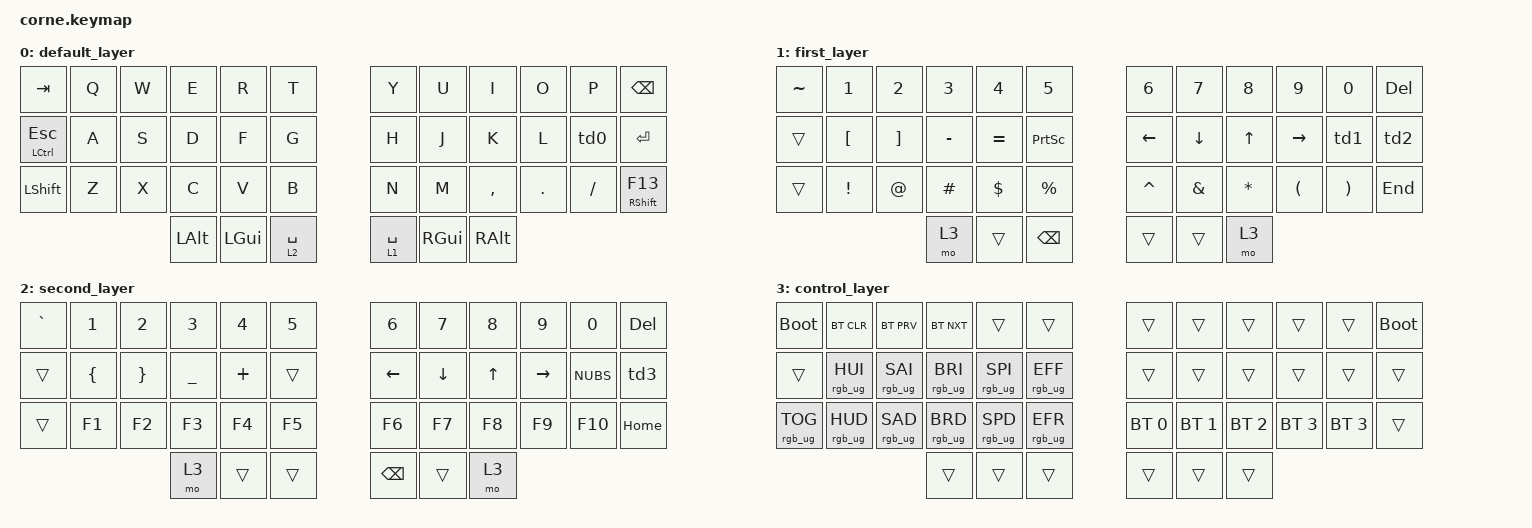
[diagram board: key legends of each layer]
/*
 * Copyright (c) 2020 The ZMK Contributors
 *
 * SPDX-License-Identifier: MIT
 */

#include <behaviors.dtsi>
#include <dt-bindings/zmk/keys.h>
#include <dt-bindings/zmk/bt.h>
#include <dt-bindings/zmk/rgb.h>
#include <dt-bindings/zmk/ext_power.h>
#include <dt-bindings/led/led.h>

&pinctrl {
    spi3_default: spi3_default {
        group1 { psels = <NRF_PSEL(SPIM_MOSI, 0, 6)>; };      // <-- data pin
    };
    spi3_sleep: spi3_sleep {
        group1 { psels = <NRF_PSEL(SPIM_MOSI, 0, 6)>; low-power-enable; };
    };
};

&spi3 {
    status = "okay";
    compatible = "nordic,nrf-spim";
    pinctrl-0 = <&spi3_default>;
    pinctrl-1 = <&spi3_sleep>;
    pinctrl-names = "default", "sleep";

    led_strip: ws2812@0 {
        compatible = "worldsemi,ws2812-spi";
        reg = <0>;
        spi-max-frequency = <4000000>;
        chain-length = <21>;
        spi-one-frame = <0x70>;
        spi-zero-frame = <0x40>;
        color-mapping = <LED_COLOR_ID_GREEN LED_COLOR_ID_RED LED_COLOR_ID_BLUE>;
    };
};

/ {
    chosen { zmk,underglow = &led_strip; };
};

// nice_view connected with control pin 8 together with LEDs
&nice_view_spi {
    cs-gpios = <&pro_micro 8 GPIO_ACTIVE_HIGH>;
};

/ {

    behaviors {
    td0: tap_dance_0 {
            compatible = "zmk,behavior-tap-dance";
            #binding-cells = <0>;
            tapping-term-ms = <200>;
            bindings = <&kp SEMI>, <&kp COLON>;
        };
    td1: tap_dance_1 {
            compatible = "zmk,behavior-tap-dance";
            #binding-cells = <0>;
            tapping-term-ms = <200>;
            bindings = <&kp SQT>, <&kp DQT>;
        };
    td2: tap_dance_2 {
            compatible = "zmk,behavior-tap-dance";
            #binding-cells = <0>;
            tapping-term-ms = <200>;
            bindings = <&kp BACKSLASH>, <&kp PIPE>;
        };
    td3: tap_dance_3 {
            compatible = "zmk,behavior-tap-dance";
            #binding-cells = <0>;
            tapping-term-ms = <200>;
            bindings = <&kp GRAVE>, <&kp TILDE>;
        };
    };

    keymap {
        compatible = "zmk,keymap";

        default_layer {
            bindings = <
//    ┌─────────────┬───┬───┬──────┬──────┬──────────┐   ┌──────────┬──────┬──────┬───┬──────┬─────────────┐
//    │     tab     │ Q │ W │  E   │  R   │    T     │   │    Y     │  U   │  I   │ O │  P   │    bspc     │
//    ├─────────────┼───┼───┼──────┼──────┼──────────┤   ├──────────┼──────┼──────┼───┼──────┼─────────────┤
//    │ mt lctl esc │ A │ S │  D   │  F   │    G     │   │    H     │  J   │  K   │ L │ &td0 │     ent     │
//    ├─────────────┼───┼───┼──────┼──────┼──────────┤   ├──────────┼──────┼──────┼───┼──────┼─────────────┤
//    │    lsft     │ Z │ X │  C   │  V   │    B     │   │    N     │  M   │  ,   │ . │  /   │ mt rsft f13 │
//    └─────────────┴───┴───┼──────┼──────┼──────────┤   ├──────────┼──────┼──────┼───┴──────┴─────────────┘
//                          │ lalt │ lgui │ lt 2 spc │   │ lt 1 spc │ rgui │ ralt │
//                          └──────┴──────┴──────────┘   └──────────┴──────┴──────┘
  &kp TAB         &kp Q   &kp W   &kp E      &kp R      &kp T             &kp Y         &kp U      &kp I       &kp O     &kp P      &kp BSPC
  &mt LCTRL ESC   &kp A   &kp S   &kp D      &kp F      &kp G             &kp H         &kp J      &kp K       &kp L     &td0       &kp RET
  &kp LSHFT       &kp Z   &kp X   &kp C      &kp V      &kp B             &kp N         &kp M      &kp COMMA   &kp DOT   &kp FSLH   &mt RSHFT F13
                                  &kp LALT   &kp LGUI   &lt 2 SPACE       &lt 1 SPACE   &kp RGUI   &kp RALT
                >;
        };

        first_layer {
            bindings = <
//    ┌─────┬───┬───┬──────┬─────┬──────┐   ┌──────┬──────┬──────┬──────┬──────┬──────┐
//    │  ~  │ 1 │ 2 │  3   │  4  │  5   │   │  6   │  7   │  8   │  9   │  0   │ del  │
//    ├─────┼───┼───┼──────┼─────┼──────┤   ├──────┼──────┼──────┼──────┼──────┼──────┤
//    │     │ [ │ ] │  -   │  =  │ pscr │   │ left │ down │  up  │ rght │ &td1 │ &td2 │
//    ├─────┼───┼───┼──────┼─────┼──────┤   ├──────┼──────┼──────┼──────┼──────┼──────┤
//    │     │ ! │ @ │  #   │  $  │  %   │   │  ^   │  &   │  *   │  (   │  )   │ end  │
//    └─────┴───┴───┼──────┼─────┼──────┤   ├──────┼──────┼──────┼──────┴──────┴──────┘
//                  │ mo 3 │     │ bspc │   │      │      │ mo 3 │
//                  └──────┴─────┴──────┘   └──────┴──────┴──────┘
  &kp TILDE   &kp N1     &kp N2     &kp N3      &kp N4      &kp N5          &kp N6      &kp N7     &kp N8      &kp N9      &kp N0     &kp DEL
  &trans      &kp LBKT   &kp RBKT   &kp MINUS   &kp EQUAL   &kp PSCRN       &kp LEFT    &kp DOWN   &kp UP      &kp RIGHT   &td1       &td2
  &trans      &kp EXCL   &kp AT     &kp HASH    &kp DLLR    &kp PRCNT       &kp CARET   &kp AMPS   &kp ASTRK   &kp LPAR    &kp RPAR   &kp END
                                    &mo 3       &trans      &kp BSPC        &trans      &trans     &mo 3
                >;
        };

        second_layer {
            bindings = <
//    ┌─────┬────┬────┬──────┬─────┬─────┐   ┌──────┬──────┬──────┬──────┬──────┬──────┐
//    │  `  │ 1  │ 2  │  3   │  4  │  5  │   │  6   │  7   │  8   │  9   │  0   │ del  │
//    ├─────┼────┼────┼──────┼─────┼─────┤   ├──────┼──────┼──────┼──────┼──────┼──────┤
//    │     │ {  │ }  │  _   │  +  │     │   │ left │ down │  up  │ rght │ iso\ │ &td3 │
//    ├─────┼────┼────┼──────┼─────┼─────┤   ├──────┼──────┼──────┼──────┼──────┼──────┤
//    │     │ f1 │ f2 │  f3  │ f4  │ f5  │   │  f6  │  f7  │  f8  │  f9  │ f10  │ home │
//    └─────┴────┴────┼──────┼─────┼─────┤   ├──────┼──────┼──────┼──────┴──────┴──────┘
//                    │ mo 3 │     │     │   │ bspc │      │ mo 3 │
//                    └──────┴─────┴─────┘   └──────┴──────┴──────┘
  &kp GRAVE   &kp N1     &kp N2     &kp N3      &kp N4     &kp N5       &kp N6     &kp N7     &kp N8   &kp N9      &kp N0     &kp DEL
  &trans      &kp LBRC   &kp RBRC   &kp UNDER   &kp PLUS   &trans       &kp LEFT   &kp DOWN   &kp UP   &kp RIGHT   &kp NUBS   &td3
  &trans      &kp F1     &kp F2     &kp F3      &kp F4     &kp F5       &kp F6     &kp F7     &kp F8   &kp F9      &kp F10    &kp HOME
                                    &mo 3       &trans     &trans       &kp BSPC   &trans     &mo 3
                >;
        };

        control_layer {
            bindings = <
//    ┌─────────┬─────────┬─────────┬─────────┬─────────┬─────────┐   ┌──────────┬──────────┬──────────┬──────────┬──────────┬──────┐
//    │  boot   │ bt_clr  │ bt_prv  │ bt_nxt  │         │         │   │          │          │          │          │          │ boot │
//    ├─────────┼─────────┼─────────┼─────────┼─────────┼─────────┤   ├──────────┼──────────┼──────────┼──────────┼──────────┼──────┤
//    │         │ ug_ hu+ │ ug_ sa+ │ ug_ br+ │ ug_ sp+ │ ug_ eff │   │          │          │          │          │          │      │
//    ├─────────┼─────────┼─────────┼─────────┼─────────┼─────────┤   ├──────────┼──────────┼──────────┼──────────┼──────────┼──────┤
//    │ ug_ tog │ ug_ hu- │ ug_ sa- │ ug_ br- │ ug_ sp- │ ug_ efr │   │ bt_sel 0 │ bt_sel 1 │ bt_sel 2 │ bt_sel 3 │ bt_sel 3 │      │
//    └─────────┴─────────┴─────────┼─────────┼─────────┼─────────┤   ├──────────┼──────────┼──────────┼──────────┴──────────┴──────┘
//                                  │         │         │         │   │          │          │          │
//                                  └─────────┴─────────┴─────────┘   └──────────┴──────────┴──────────┘
  &bootloader       &bt BT_CLR        &bt BT_PRV        &bt BT_NXT        &trans            &trans                &trans         &trans         &trans         &trans         &trans         &bootloader
  &trans            &rgb_ug RGB_HUI   &rgb_ug RGB_SAI   &rgb_ug RGB_BRI   &rgb_ug RGB_SPI   &rgb_ug RGB_EFF       &trans         &trans         &trans         &trans         &trans         &trans
  &rgb_ug RGB_TOG   &rgb_ug RGB_HUD   &rgb_ug RGB_SAD   &rgb_ug RGB_BRD   &rgb_ug RGB_SPD   &rgb_ug RGB_EFR       &bt BT_SEL 0   &bt BT_SEL 1   &bt BT_SEL 2   &bt BT_SEL 3   &bt BT_SEL 3   &trans
                                                        &trans            &trans            &trans                &trans         &trans         &trans
                >;
      };
   };
};
